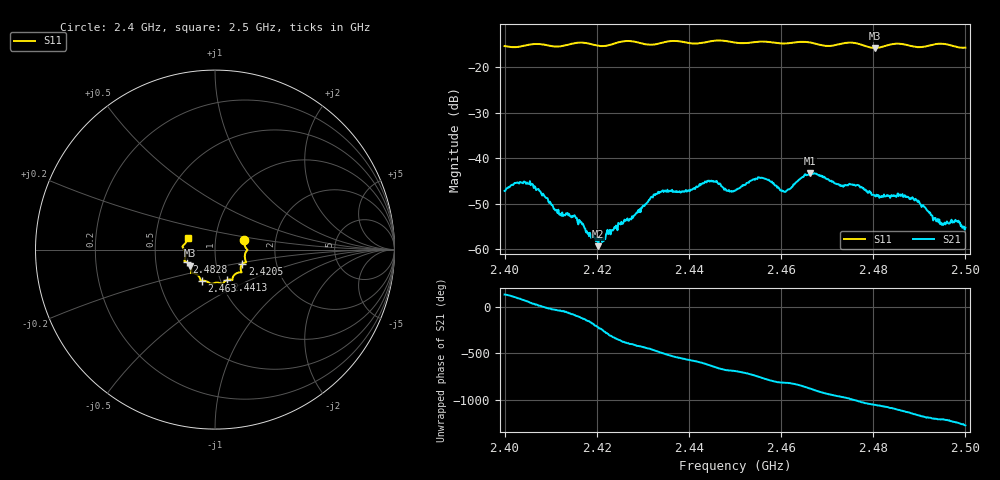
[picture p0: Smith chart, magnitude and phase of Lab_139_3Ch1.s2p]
# Hz S RI R 50
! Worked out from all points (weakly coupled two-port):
!   601 points, 2.4 GHz to 2.5 GHz, reference 50 ohm
!   highest |S21| = -43.30 dB at 2.4663 GHz (marker M1); lowest = -59.4 dB at 2.4203 GHz (marker M2)
!   lowest |S11| = -15.7 dB at 2.4803 GHz (marker M3), VSWR 1.39, Z = 37.4 - j6.82 ohm
!   |S11| at or under -10 dB: start of sweep to end of sweep
!   S12 and S22 are empty: the file has one direction only
!   S11 on the Smith chart (normalised r, x): 2.4 GHz: 1.38, +0.15; 2.4205 GHz: 1.34, -0.22; 2.4413 GHz: 1.08, -0.38; 2.463 GHz: 0.82, -0.29; 2.4828 GHz: 0.72, -0.10; 2.5 GHz: 0.73, +0.10
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2.4e9  0.1629 0.0527  -0.00294 0.00321  0 0  0 0
2.405667e9  0.1786 0.0016  0.00364 0.0035  0 0  0 0
2.411833e9  0.166 -0.0344  0.00183 -0.00157  0 0  0 0
2.416667e9  0.1735 -0.0697  -0.000955 -0.00172  0 0  0 0
2.420333e9  0.1531 -0.0801  -0.000828 0.000685  0 0  0 0
2.4205e9  0.1519 -0.081  -0.000833 0.00108  0 0  0 0
2.433333e9  0.1006 -0.1516  -0.00225 -0.00362  0 0  0 0
2.441333e9  0.0677 -0.1695  -0.00338 0.00308  0 0  0 0
2.444667e9  0.0445 -0.1883  -2.12e-05 0.00561  0 0  0 0
2.45e9  0.0248 -0.1856  0.00381 0.00216  0 0  0 0
2.4555e9  -0.0186 -0.1911  0.00481 -0.00368  0 0  0 0
2.4605e9  -0.0508 -0.1758  -0.000333 -0.00434  0 0  0 0
2.463e9  -0.0721 -0.1736  -0.00174 -0.00495  0 0  0 0
2.466333e9  -0.0812 -0.1692  -0.00638 -0.00247  0 0  0 0
2.466667e9  -0.0815 -0.1674  -0.00653 -0.00179  0 0  0 0
2.480333e9  -0.1372 -0.0887  0.00346 0.0017  0 0  0 0
2.482833e9  -0.1585 -0.0701  0.0038 0.000319  0 0  0 0
2.483333e9  -0.1624 -0.0683  0.00388 -0.000104  0 0  0 0
2.489e9  -0.1645 -0.0355  0.000926 -0.00329  0 0  0 0
2.494667e9  -0.1809 0.0177  -0.00129 -0.00146  0 0  0 0
2.498333e9  -0.1612 0.0416  -0.00193 -0.000454  0 0  0 0
2.5e9  -0.1519 0.0639  -0.00166 0.000463  0 0  0 0
